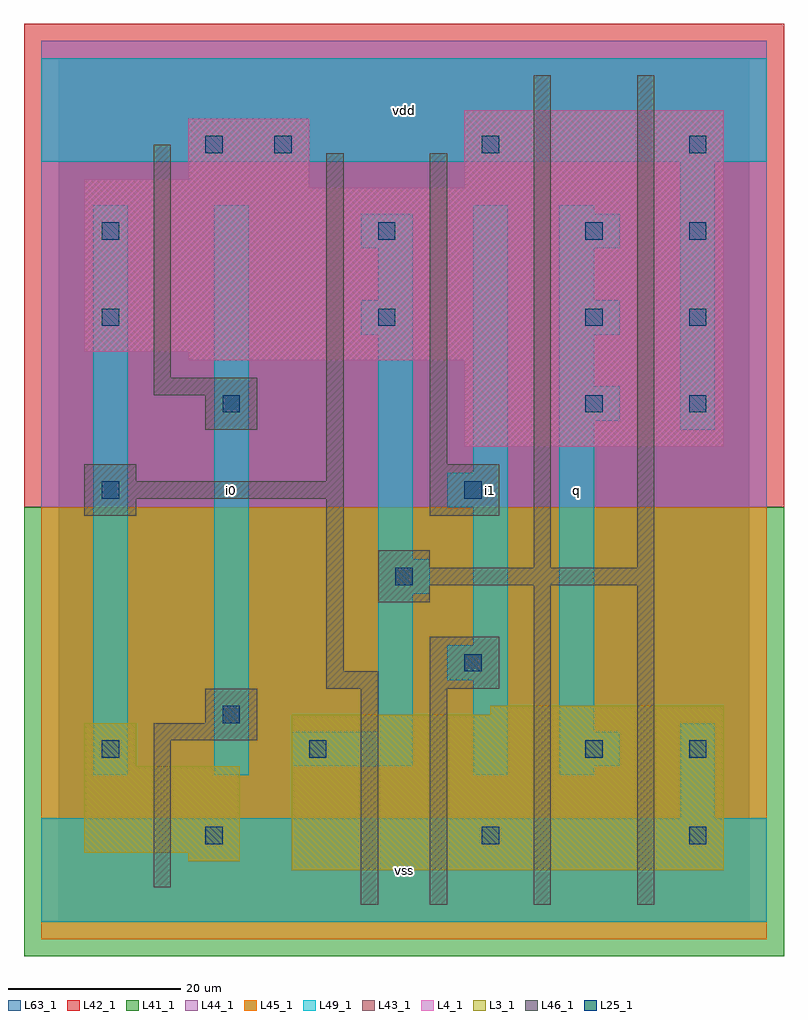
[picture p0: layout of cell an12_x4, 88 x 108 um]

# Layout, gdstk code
import gdstk
lib = gdstk.Library(unit=1e-6, precision=1e-09)
def R(c, l, rs):  # rectangles x0, y0, x1, y1
    for r in rs: c.add(gdstk.rectangle(r[:2], r[2:], *l))
def A(c, l, x, y, w, h, nx, ny, dx, dy):  # array of equal rectangles
    R(c, l, [(x+i*dx, y+j*dy, x+i*dx+w, y+j*dy+h) for i in range(nx) for j in range(ny)])
L3_1 = (3, 1)
L4_1 = (4, 1)
L25_1 = (25, 1)
L41_1 = (41, 1)
L42_1 = (42, 1)
L43_1 = (43, 1)
L44_1 = (44, 1)
L45_1 = (45, 1)
L46_1 = (46, 1)
L49_1 = (49, 1)
L63_1 = (63, 1)

an12_x4 = lib.new_cell('an12_x4')
R(an12_x4, L3_1, [(27,6,77,24), (15,7,21,8), (3,8,21,18), (3,18,9,23), (50,24,77,25)])
R(an12_x4, L4_1, [(47,55,77,65), (15,65,77,66), (3,66,77,85), (3,85,29,86), (47,85,77,94), (15,86,29,93)])
A(an12_x4, L25_1, 61, 59, 2, 2, 1, 3, 0, 10)
A(an12_x4, L25_1, 73, 59, 2, 2, 1, 3, 0, 10)
A(an12_x4, L25_1, 25, 89, 2, 2, 3, 1, 24, 0)
R(an12_x4, L25_1, [(17,9,19,11), (49,9,51,11), (73,9,75,11), (5,19,7,21), (29,19,31,21), (61,19,63,21), (73,19,75,21), (19,23,21,25), (47,29,49,31), (39,39,41,41), (5,49,7,51), (47,49,49,51), (19,59,21,61), (5,69,7,71), (37,69,39,71), (5,79,7,81), (37,79,39,81), (17,89,19,91)])
R(an12_x4, L41_1, [(-4,-4,84,48)])
R(an12_x4, L42_1, [(-4,48,84,104)])
R(an12_x4, L43_1, [(27,6,77,24), (15,7,21,8), (3,8,21,18), (3,18,9,23), (50,24,77,25), (47,55,77,65), (15,65,77,66), (3,66,77,85), (3,85,29,86), (47,85,77,94), (15,86,29,93)])
R(an12_x4, L44_1, [(-2,48,82,102)])
R(an12_x4, L45_1, [(-2,-2,82,48)])
R(an12_x4, L46_1, [(35,2,37,27), (43,2,45,27), (55,2,57,39), (67,2,69,39), (11,4,13,21), (11,21,23,23), (17,23,23,27), (31,27,37,29), (43,27,51,33), (31,29,33,49), (37,37,43,39), (37,39,69,41), (37,41,43,43), (55,41,57,98), (67,41,69,98), (3,47,9,49), (43,47,51,53), (3,49,33,51), (3,51,9,53), (31,51,33,89), (43,53,45,89), (17,57,23,61), (11,61,23,63), (11,63,13,90)])
A(an12_x4, L49_1, 58, 58, 7, 4, 1, 3, 0, 10)
R(an12_x4, L49_1, [(-2,0,82,12), (72,12,76,23), (4,17,8,83), (18,17,22,83), (48,17,52,28), (58,17,62,18), (27,18,41,22), (58,18,65,22), (37,22,41,38), (58,22,62,58), (45,28,52,32), (48,32,52,48), (37,38,43,42), (37,42,41,68), (45,48,52,52), (48,52,52,83), (72,57,76,88), (58,62,62,68), (35,68,41,72), (37,72,41,78), (58,72,62,78), (35,78,41,82), (58,82,62,83), (-2,88,82,100)])
R(an12_x4, L63_1, [(0,0,80,100)])
an12_x4.add(gdstk.Label('i0', (20,50), layer=49, texttype=1))
an12_x4.add(gdstk.Label('vss', (40,6), layer=49, texttype=1))
an12_x4.add(gdstk.Label('i1', (50,50), layer=49, texttype=1))
an12_x4.add(gdstk.Label('vdd', (40,94), layer=49, texttype=1))
an12_x4.add(gdstk.Label('q', (60,50), layer=49, texttype=1))

lib.write_gds('an12_x4.gds')
